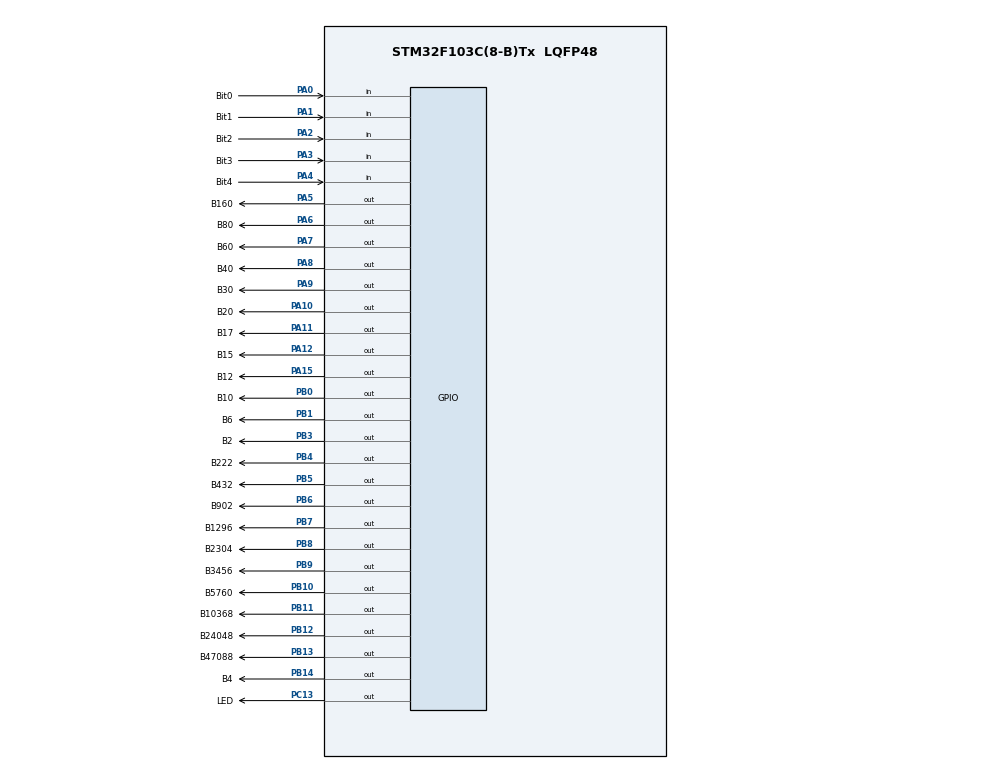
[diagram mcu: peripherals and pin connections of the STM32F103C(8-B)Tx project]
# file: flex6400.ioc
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Mcu.Family=STM32F1
Mcu.Name=STM32F103C(8-B)Tx
Mcu.Package=LQFP48
NVIC.PriorityGroup=NVIC_PRIORITYGROUP_4
NVIC.TIM4_IRQn=true\:0\:0\:false\:false\:true\:true\:true
PA0-WKUP.GPIO_Label=Bit0
PA0-WKUP.GPIO_PuPd=GPIO_PULLUP
PA0-WKUP.Signal=GPIO_Input
PA1.GPIO_Label=Bit1
PA1.GPIO_PuPd=GPIO_PULLUP
PA1.Signal=GPIO_Input
PA10.GPIO_Label=B20
PA10.Signal=GPIO_Output
PA11.GPIO_Label=B17
PA11.Signal=GPIO_Output
PA12.GPIO_Label=B15
PA12.Signal=GPIO_Output
PA13.Mode=Serial_Wire
PA13.Signal=SYS_JTMS-SWDIO
PA14.Mode=Serial_Wire
PA14.Signal=SYS_JTCK-SWCLK
PA15.GPIO_Label=B12
PA15.Signal=GPIO_Output
PA2.GPIO_Label=Bit2
PA2.GPIO_PuPd=GPIO_PULLUP
PA2.Signal=GPIO_Input
PA3.GPIO_Label=Bit3
PA3.GPIO_PuPd=GPIO_PULLUP
PA3.Signal=GPIO_Input
PA4.GPIO_Label=Bit4
PA4.GPIO_PuPd=GPIO_PULLUP
PA4.Signal=GPIO_Input
PA5.GPIO_Label=B160
PA5.Signal=GPIO_Output
PA6.GPIO_Label=B80
PA6.Signal=GPIO_Output
PA7.GPIO_Label=B60
PA7.Signal=GPIO_Output
PA8.GPIO_Label=B40
PA8.Signal=GPIO_Output
PA9.GPIO_Label=B30
PA9.Signal=GPIO_Output
PB0.GPIO_Label=B10
PB0.Signal=GPIO_Output
PB1.GPIO_Label=B6
PB1.Signal=GPIO_Output
PB10.GPIO_Label=B5760
PB10.Signal=GPIO_Output
PB11.GPIO_Label=B10368
PB11.Signal=GPIO_Output
PB12.GPIO_Label=B24048
PB12.Signal=GPIO_Output
PB13.GPIO_Label=B47088
PB13.Signal=GPIO_Output
PB14.GPIO_Label=B4
PB14.Signal=GPIO_Output
PB3.GPIO_Label=B2
PB3.Signal=GPIO_Output
PB4.GPIO_Label=B222
PB4.Signal=GPIO_Output
PB5.GPIO_Label=B432
PB5.Signal=GPIO_Output
PB6.GPIO_Label=B902
PB6.Signal=GPIO_Output
PB7.GPIO_Label=B1296
PB7.Signal=GPIO_Output
PB8.GPIO_Label=B2304
PB8.Signal=GPIO_Output
PB9.GPIO_Label=B3456
PB9.Signal=GPIO_Output
PC13-TAMPER-RTC.GPIO_Label=LED
PC13-TAMPER-RTC.Signal=GPIO_Output
PD0-OSC_IN.Mode=HSE-External-Oscillator
PD0-OSC_IN.Signal=RCC_OSC_IN
PD1-OSC_OUT.Mode=HSE-External-Oscillator
PD1-OSC_OUT.Signal=RCC_OSC_OUT
ProjectManager.HeapSize=0x200
ProjectManager.StackSize=0x400
ProjectManager.TargetToolchain=STM32CubeIDE
RCC.APB1Freq_Value=8000000
RCC.APB2Freq_Value=8000000
TIM4.AutoReloadPreload=TIM_AUTORELOAD_PRELOAD_ENABLE
TIM4.Period=1000
TIM4.Prescaler=7999
VP_TIM4_VS_ClockSourceINT.Mode=Internal
board=custom

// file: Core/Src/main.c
/* USER CODE BEGIN Header */
/**
  ******************************************************************************
  * @file           : main.c
  * @brief          : Main program body
  ******************************************************************************
  * @attention
  *
  * <h2><center>&copy; Copyright (c) 2020 STMicroelectronics.
  * All rights reserved.</center></h2>
  *
  * This software component is licensed by ST under BSD 3-Clause license,
  * the "License"; You may not use this file except in compliance with the
  * License. You may obtain a copy of the License at:
  *                        opensource.org/licenses/BSD-3-Clause
  *
  ******************************************************************************
  */
  /*
   INPUTS
	A0 - Bit0
	A1 - Bit1
	A2 - Bit2
	A3 - Bit3
	A4 - Bit4
   OUTPUTS
	A5 - 160
	A6 - 80
	A7 - 60
	A8 - 40
	A9 - 30
	A10 - 20
	A11 - 17
	A12 - 15
	A15 - 12
	B0 - 10
	B1 - 6
	B3 - 2
	B4 - 222
	B5 - 432
	B6 - 902
	B7 - 1296
	B8 - 2304
	B9 - 3456
	B10 - 5760
	B11 - 10368
	B12 - 24048
	B13 - 47088
	B14 - 4
  */
/* USER CODE END Header */
#include "main.h"
#include "tim.h"
#include "gpio.h"

void SystemClock_Config(void);
/* USER CODE BEGIN PFP */
void SetBand (void)
{
	if ((LL_GPIO_IsInputPinSet(Bit0_GPIO_Port, Bit0_Pin))&&!(LL_GPIO_IsInputPinSet(Bit1_GPIO_Port, Bit1_Pin))
				&&!(LL_GPIO_IsInputPinSet(Bit2_GPIO_Port, Bit2_Pin))&&!(LL_GPIO_IsInputPinSet(Bit3_GPIO_Port, Bit3_Pin))
				&&!(LL_GPIO_IsInputPinSet(Bit4_GPIO_Port, Bit4_Pin)))														//160
			{
				LL_GPIO_SetOutputPin(B160_GPIO_Port, B160_Pin);
				LL_GPIO_ResetOutputPin(B80_GPIO_Port, B80_Pin);
				LL_GPIO_ResetOutputPin(B60_GPIO_Port, B60_Pin);
				LL_GPIO_ResetOutputPin(B40_GPIO_Port, B40_Pin);
				LL_GPIO_ResetOutputPin(B30_GPIO_Port, B30_Pin);
				LL_GPIO_ResetOutputPin(B20_GPIO_Port, B20_Pin);
				LL_GPIO_ResetOutputPin(B17_GPIO_Port, B17_Pin);
				LL_GPIO_ResetOutputPin(B15_GPIO_Port, B15_Pin);
				LL_GPIO_ResetOutputPin(B12_GPIO_Port, B12_Pin);
				LL_GPIO_ResetOutputPin(B10_GPIO_Port, B10_Pin);
				LL_GPIO_ResetOutputPin(B6_GPIO_Port, B6_Pin);
				LL_GPIO_ResetOutputPin(B2_GPIO_Port, B2_Pin);
				LL_GPIO_ResetOutputPin(B222_GPIO_Port, B222_Pin);
				LL_GPIO_ResetOutputPin(B432_GPIO_Port, B432_Pin);
				LL_GPIO_ResetOutputPin(B902_GPIO_Port, B902_Pin);
				LL_GPIO_ResetOutputPin(B1296_GPIO_Port, B1296_Pin);
				LL_GPIO_ResetOutputPin(B2304_GPIO_Port, B2304_Pin);
				LL_GPIO_ResetOutputPin(B3456_GPIO_Port, B3456_Pin);
				LL_GPIO_ResetOutputPin(B5760_GPIO_Port, B5760_Pin);
				LL_GPIO_ResetOutputPin(B10368_GPIO_Port, B10368_Pin);
				LL_GPIO_ResetOutputPin(B24048_GPIO_Port, B24048_Pin);
				LL_GPIO_ResetOutputPin(B47088_GPIO_Port, B47088_Pin);
				LL_GPIO_ResetOutputPin(B4_GPIO_Port, B4_Pin);
			}
	if (!(LL_GPIO_IsInputPinSet(Bit0_GPIO_Port, Bit0_Pin))&&(LL_GPIO_IsInputPinSet(Bit1_GPIO_Port, Bit1_Pin))
					&&!(LL_GPIO_IsInputPinSet(Bit2_GPIO_Port, Bit2_Pin))&&!(LL_GPIO_IsInputPinSet(Bit3_GPIO_Port, Bit3_Pin))
					&&!(LL_GPIO_IsInputPinSet(Bit4_GPIO_Port, Bit4_Pin)))														//80
			{
				LL_GPIO_ResetOutputPin(B160_GPIO_Port, B160_Pin);
						LL_GPIO_SetOutputPin(B80_GPIO_Port, B80_Pin);
						LL_GPIO_ResetOutputPin(B60_GPIO_Port, B60_Pin);
						LL_GPIO_ResetOutputPin(B40_GPIO_Port, B40_Pin);
						LL_GPIO_ResetOutputPin(B30_GPIO_Port, B30_Pin);
						LL_GPIO_ResetOutputPin(B20_GPIO_Port, B20_Pin);
						LL_GPIO_ResetOutputPin(B17_GPIO_Port, B17_Pin);
						LL_GPIO_ResetOutputPin(B15_GPIO_Port, B15_Pin);
						LL_GPIO_ResetOutputPin(B12_GPIO_Port, B12_Pin);
						LL_GPIO_ResetOutputPin(B10_GPIO_Port, B10_Pin);
						LL_GPIO_ResetOutputPin(B6_GPIO_Port, B6_Pin);
						LL_GPIO_ResetOutputPin(B2_GPIO_Port, B2_Pin);
						LL_GPIO_ResetOutputPin(B222_GPIO_Port, B222_Pin);
						LL_GPIO_ResetOutputPin(B432_GPIO_Port, B432_Pin);
						LL_GPIO_ResetOutputPin(B902_GPIO_Port, B902_Pin);
						LL_GPIO_ResetOutputPin(B1296_GPIO_Port, B1296_Pin);
						LL_GPIO_ResetOutputPin(B2304_GPIO_Port, B2304_Pin);
						LL_GPIO_ResetOutputPin(B3456_GPIO_Port, B3456_Pin);
						LL_GPIO_ResetOutputPin(B5760_GPIO_Port, B5760_Pin);
						LL_GPIO_ResetOutputPin(B10368_GPIO_Port, B10368_Pin);
						LL_GPIO_ResetOutputPin(B24048_GPIO_Port, B24048_Pin);
						LL_GPIO_ResetOutputPin(B47088_GPIO_Port, B47088_Pin);
						LL_GPIO_ResetOutputPin(B4_GPIO_Port, B4_Pin);
			}
	if (!(LL_GPIO_IsInputPinSet(Bit0_GPIO_Port, Bit0_Pin))&&!(LL_GPIO_IsInputPinSet(Bit1_GPIO_Port, Bit1_Pin))
					&&!(LL_GPIO_IsInputPinSet(Bit2_GPIO_Port, Bit2_Pin))&&!(LL_GPIO_IsInputPinSet(Bit3_GPIO_Port, Bit3_Pin))
					&&!(LL_GPIO_IsInputPinSet(Bit4_GPIO_Port, Bit4_Pin)))														//60
			{
		LL_GPIO_ResetOutputPin(B160_GPIO_Port, B160_Pin);
						LL_GPIO_ResetOutputPin(B80_GPIO_Port, B80_Pin);
						LL_GPIO_SetOutputPin(B60_GPIO_Port, B60_Pin);
						LL_GPIO_ResetOutputPin(B40_GPIO_Port, B40_Pin);
						LL_GPIO_ResetOutputPin(B30_GPIO_Port, B30_Pin);
						LL_GPIO_ResetOutputPin(B20_GPIO_Port, B20_Pin);
						LL_GPIO_ResetOutputPin(B17_GPIO_Port, B17_Pin);
						LL_GPIO_ResetOutputPin(B15_GPIO_Port, B15_Pin);
						LL_GPIO_ResetOutputPin(B12_GPIO_Port, B12_Pin);
						LL_GPIO_ResetOutputPin(B10_GPIO_Port, B10_Pin);
						LL_GPIO_ResetOutputPin(B6_GPIO_Port, B6_Pin);
						LL_GPIO_ResetOutputPin(B2_GPIO_Port, B2_Pin);
						LL_GPIO_ResetOutputPin(B222_GPIO_Port, B222_Pin);
						LL_GPIO_ResetOutputPin(B432_GPIO_Port, B432_Pin);
						LL_GPIO_ResetOutputPin(B902_GPIO_Port, B902_Pin);
						LL_GPIO_ResetOutputPin(B1296_GPIO_Port, B1296_Pin);
						LL_GPIO_ResetOutputPin(B2304_GPIO_Port, B2304_Pin);
						LL_GPIO_ResetOutputPin(B3456_GPIO_Port, B3456_Pin);
						LL_GPIO_ResetOutputPin(B5760_GPIO_Port, B5760_Pin);
						LL_GPIO_ResetOutputPin(B10368_GPIO_Port, B10368_Pin);
						LL_GPIO_ResetOutputPin(B24048_GPIO_Port, B24048_Pin);
						LL_GPIO_ResetOutputPin(B47088_GPIO_Port, B47088_Pin);
						LL_GPIO_ResetOutputPin(B4_GPIO_Port, B4_Pin);

			}
	if ((LL_GPIO_IsInputPinSet(Bit0_GPIO_Port, Bit0_Pin))&&(LL_GPIO_IsInputPinSet(Bit1_GPIO_Port, Bit1_Pin))
					&&!(LL_GPIO_IsInputPinSet(Bit2_GPIO_Port, Bit2_Pin))&&!(LL_GPIO_IsInputPinSet(Bit3_GPIO_Port, Bit3_Pin))
					&&!(LL_GPIO_IsInputPinSet(Bit4_GPIO_Port, Bit4_Pin)))														//40
			{
		LL_GPIO_ResetOutputPin(B160_GPIO_Port, B160_Pin);
						LL_GPIO_ResetOutputPin(B80_GPIO_Port, B80_Pin);
						LL_GPIO_ResetOutputPin(B60_GPIO_Port, B60_Pin);
						LL_GPIO_SetOutputPin(B40_GPIO_Port, B40_Pin);
						LL_GPIO_ResetOutputPin(B30_GPIO_Port, B30_Pin);
						LL_GPIO_ResetOutputPin(B20_GPIO_Port, B20_Pin);
						LL_GPIO_ResetOutputPin(B17_GPIO_Port, B17_Pin);
						LL_GPIO_ResetOutputPin(B15_GPIO_Port, B15_Pin);
						LL_GPIO_ResetOutputPin(B12_GPIO_Port, B12_Pin);
						LL_GPIO_ResetOutputPin(B10_GPIO_Port, B10_Pin);
						LL_GPIO_ResetOutputPin(B6_GPIO_Port, B6_Pin);
						LL_GPIO_ResetOutputPin(B2_GPIO_Port, B2_Pin);
						LL_GPIO_ResetOutputPin(B222_GPIO_Port, B222_Pin);
						LL_GPIO_ResetOutputPin(B432_GPIO_Port, B432_Pin);
						LL_GPIO_ResetOutputPin(B902_GPIO_Port, B902_Pin);
						LL_GPIO_ResetOutputPin(B1296_GPIO_Port, B1296_Pin);
						LL_GPIO_ResetOutputPin(B2304_GPIO_Port, B2304_Pin);
						LL_GPIO_ResetOutputPin(B3456_GPIO_Port, B3456_Pin);
						LL_GPIO_ResetOutputPin(B5760_GPIO_Port, B5760_Pin);
						LL_GPIO_ResetOutputPin(B10368_GPIO_Port, B10368_Pin);
						LL_GPIO_ResetOutputPin(B24048_GPIO_Port, B24048_Pin);
						LL_GPIO_ResetOutputPin(B47088_GPIO_Port, B47088_Pin);
						LL_GPIO_ResetOutputPin(B4_GPIO_Port, B4_Pin);

			}
	if ((!LL_GPIO_IsInputPinSet(Bit0_GPIO_Port, Bit0_Pin))&&!(LL_GPIO_IsInputPinSet(Bit1_GPIO_Port, Bit1_Pin))
					&&(LL_GPIO_IsInputPinSet(Bit2_GPIO_Port, Bit2_Pin))&&!(LL_GPIO_IsInputPinSet(Bit3_GPIO_Port, Bit3_Pin))
					&&!(LL_GPIO_IsInputPinSet(Bit4_GPIO_Port, Bit4_Pin)))														//30
			{
		LL_GPIO_ResetOutputPin(B160_GPIO_Port, B160_Pin);
						LL_GPIO_ResetOutputPin(B80_GPIO_Port, B80_Pin);
						LL_GPIO_ResetOutputPin(B60_GPIO_Port, B60_Pin);
						LL_GPIO_ResetOutputPin(B40_GPIO_Port, B40_Pin);
						LL_GPIO_SetOutputPin(B30_GPIO_Port, B30_Pin);
						LL_GPIO_ResetOutputPin(B20_GPIO_Port, B20_Pin);
						LL_GPIO_ResetOutputPin(B17_GPIO_Port, B17_Pin);
						LL_GPIO_ResetOutputPin(B15_GPIO_Port, B15_Pin);
						LL_GPIO_ResetOutputPin(B12_GPIO_Port, B12_Pin);
						LL_GPIO_ResetOutputPin(B10_GPIO_Port, B10_Pin);
						LL_GPIO_ResetOutputPin(B6_GPIO_Port, B6_Pin);
						LL_GPIO_ResetOutputPin(B2_GPIO_Port, B2_Pin);
						LL_GPIO_ResetOutputPin(B222_GPIO_Port, B222_Pin);
						LL_GPIO_ResetOutputPin(B432_GPIO_Port, B432_Pin);
						LL_GPIO_ResetOutputPin(B902_GPIO_Port, B902_Pin);
						LL_GPIO_ResetOutputPin(B1296_GPIO_Port, B1296_Pin);
						LL_GPIO_ResetOutputPin(B2304_GPIO_Port, B2304_Pin);
						LL_GPIO_ResetOutputPin(B3456_GPIO_Port, B3456_Pin);
						LL_GPIO_ResetOutputPin(B5760_GPIO_Port, B5760_Pin);
						LL_GPIO_ResetOutputPin(B10368_GPIO_Port, B10368_Pin);
						LL_GPIO_ResetOutputPin(B24048_GPIO_Port, B24048_Pin);
						LL_GPIO_ResetOutputPin(B47088_GPIO_Port, B47088_Pin);
						LL_GPIO_ResetOutputPin(B4_GPIO_Port, B4_Pin);

			}
	if ((LL_GPIO_IsInputPinSet(Bit0_GPIO_Port, Bit0_Pin))&&!(LL_GPIO_IsInputPinSet(Bit1_GPIO_Port, Bit1_Pin))
					&&(LL_GPIO_IsInputPinSet(Bit2_GPIO_Port, Bit2_Pin))&&!(LL_GPIO_IsInputPinSet(Bit3_GPIO_Port, Bit3_Pin))
					&&!(LL_GPIO_IsInputPinSet(Bit4_GPIO_Port, Bit4_Pin)))														//20
			{
		LL_GPIO_ResetOutputPin(B160_GPIO_Port, B160_Pin);
						LL_GPIO_ResetOutputPin(B80_GPIO_Port, B80_Pin);
						LL_GPIO_ResetOutputPin(B60_GPIO_Port, B60_Pin);
						LL_GPIO_ResetOutputPin(B40_GPIO_Port, B40_Pin);
						LL_GPIO_ResetOutputPin(B30_GPIO_Port, B30_Pin);
						LL_GPIO_SetOutputPin(B20_GPIO_Port, B20_Pin);
						LL_GPIO_ResetOutputPin(B17_GPIO_Port, B17_Pin);
						LL_GPIO_ResetOutputPin(B15_GPIO_Port, B15_Pin);
						LL_GPIO_ResetOutputPin(B12_GPIO_Port, B12_Pin);
						LL_GPIO_ResetOutputPin(B10_GPIO_Port, B10_Pin);
						LL_GPIO_ResetOutputPin(B6_GPIO_Port, B6_Pin);
						LL_GPIO_ResetOutputPin(B2_GPIO_Port, B2_Pin);
						LL_GPIO_ResetOutputPin(B222_GPIO_Port, B222_Pin);
						LL_GPIO_ResetOutputPin(B432_GPIO_Port, B432_Pin);
						LL_GPIO_ResetOutputPin(B902_GPIO_Port, B902_Pin);
						LL_GPIO_ResetOutputPin(B1296_GPIO_Port, B1296_Pin);
						LL_GPIO_ResetOutputPin(B2304_GPIO_Port, B2304_Pin);
						LL_GPIO_ResetOutputPin(B3456_GPIO_Port, B3456_Pin);
						LL_GPIO_ResetOutputPin(B5760_GPIO_Port, B5760_Pin);
						LL_GPIO_ResetOutputPin(B10368_GPIO_Port, B10368_Pin);
						LL_GPIO_ResetOutputPin(B24048_GPIO_Port, B24048_Pin);
						LL_GPIO_ResetOutputPin(B47088_GPIO_Port, B47088_Pin);
						LL_GPIO_ResetOutputPin(B4_GPIO_Port, B4_Pin);

			}
	if ((!LL_GPIO_IsInputPinSet(Bit0_GPIO_Port, Bit0_Pin))&&(LL_GPIO_IsInputPinSet(Bit1_GPIO_Port, Bit1_Pin))
					&&(LL_GPIO_IsInputPinSet(Bit2_GPIO_Port, Bit2_Pin))&&!(LL_GPIO_IsInputPinSet(Bit3_GPIO_Port, Bit3_Pin))
					&&!(LL_GPIO_IsInputPinSet(Bit4_GPIO_Port, Bit4_Pin)))														//17
			{
		LL_GPIO_ResetOutputPin(B160_GPIO_Port, B160_Pin);
						LL_GPIO_ResetOutputPin(B80_GPIO_Port, B80_Pin);
						LL_GPIO_ResetOutputPin(B60_GPIO_Port, B60_Pin);
						LL_GPIO_ResetOutputPin(B40_GPIO_Port, B40_Pin);
						LL_GPIO_ResetOutputPin(B30_GPIO_Port, B30_Pin);
						LL_GPIO_ResetOutputPin(B20_GPIO_Port, B20_Pin);
						LL_GPIO_SetOutputPin(B17_GPIO_Port, B17_Pin);
						LL_GPIO_ResetOutputPin(B15_GPIO_Port, B15_Pin);
						LL_GPIO_ResetOutputPin(B12_GPIO_Port, B12_Pin);
						LL_GPIO_ResetOutputPin(B10_GPIO_Port, B10_Pin);
						LL_GPIO_ResetOutputPin(B6_GPIO_Port, B6_Pin);
						LL_GPIO_ResetOutputPin(B2_GPIO_Port, B2_Pin);
						LL_GPIO_ResetOutputPin(B222_GPIO_Port, B222_Pin);
						LL_GPIO_ResetOutputPin(B432_GPIO_Port, B432_Pin);
						LL_GPIO_ResetOutputPin(B902_GPIO_Port, B902_Pin);
						LL_GPIO_ResetOutputPin(B1296_GPIO_Port, B1296_Pin);
						LL_GPIO_ResetOutputPin(B2304_GPIO_Port, B2304_Pin);
						LL_GPIO_ResetOutputPin(B3456_GPIO_Port, B3456_Pin);
						LL_GPIO_ResetOutputPin(B5760_GPIO_Port, B5760_Pin);
						LL_GPIO_ResetOutputPin(B10368_GPIO_Port, B10368_Pin);
						LL_GPIO_ResetOutputPin(B24048_GPIO_Port, B24048_Pin);
						LL_GPIO_ResetOutputPin(B47088_GPIO_Port, B47088_Pin);
						LL_GPIO_ResetOutputPin(B4_GPIO_Port, B4_Pin);

			}
	if ((LL_GPIO_IsInputPinSet(Bit0_GPIO_Port, Bit0_Pin))&&(LL_GPIO_IsInputPinSet(Bit1_GPIO_Port, Bit1_Pin))
					&&(LL_GPIO_IsInputPinSet(Bit2_GPIO_Port, Bit2_Pin))&&!(LL_GPIO_IsInputPinSet(Bit3_GPIO_Port, Bit3_Pin))
					&&!(LL_GPIO_IsInputPinSet(Bit4_GPIO_Port, Bit4_Pin)))														//15
			{
		LL_GPIO_ResetOutputPin(B160_GPIO_Port, B160_Pin);
						LL_GPIO_ResetOutputPin(B80_GPIO_Port, B80_Pin);
						LL_GPIO_ResetOutputPin(B60_GPIO_Port, B60_Pin);
						LL_GPIO_ResetOutputPin(B40_GPIO_Port, B40_Pin);
						LL_GPIO_ResetOutputPin(B30_GPIO_Port, B30_Pin);
						LL_GPIO_ResetOutputPin(B20_GPIO_Port, B20_Pin);
						LL_GPIO_ResetOutputPin(B17_GPIO_Port, B17_Pin);
						LL_GPIO_SetOutputPin(B15_GPIO_Port, B15_Pin);
						LL_GPIO_ResetOutputPin(B12_GPIO_Port, B12_Pin);
						LL_GPIO_ResetOutputPin(B10_GPIO_Port, B10_Pin);
						LL_GPIO_ResetOutputPin(B6_GPIO_Port, B6_Pin);
						LL_GPIO_ResetOutputPin(B2_GPIO_Port, B2_Pin);
						LL_GPIO_ResetOutputPin(B222_GPIO_Port, B222_Pin);
						LL_GPIO_ResetOutputPin(B432_GPIO_Port, B432_Pin);
						LL_GPIO_ResetOutputPin(B902_GPIO_Port, B902_Pin);
						LL_GPIO_ResetOutputPin(B1296_GPIO_Port, B1296_Pin);
						LL_GPIO_ResetOutputPin(B2304_GPIO_Port, B2304_Pin);
						LL_GPIO_ResetOutputPin(B3456_GPIO_Port, B3456_Pin);
						LL_GPIO_ResetOutputPin(B5760_GPIO_Port, B5760_Pin);
						LL_GPIO_ResetOutputPin(B10368_GPIO_Port, B10368_Pin);
						LL_GPIO_ResetOutputPin(B24048_GPIO_Port, B24048_Pin);
						LL_GPIO_ResetOutputPin(B47088_GPIO_Port, B47088_Pin);
						LL_GPIO_ResetOutputPin(B4_GPIO_Port, B4_Pin);

			}
	if ((!LL_GPIO_IsInputPinSet(Bit0_GPIO_Port, Bit0_Pin))&&!(LL_GPIO_IsInputPinSet(Bit1_GPIO_Port, Bit1_Pin))
					&&!(LL_GPIO_IsInputPinSet(Bit2_GPIO_Port, Bit2_Pin))&&(LL_GPIO_IsInputPinSet(Bit3_GPIO_Port, Bit3_Pin))
					&&!(LL_GPIO_IsInputPinSet(Bit4_GPIO_Port, Bit4_Pin)))														//12
			{
		LL_GPIO_ResetOutputPin(B160_GPIO_Port, B160_Pin);
						LL_GPIO_ResetOutputPin(B80_GPIO_Port, B80_Pin);
						LL_GPIO_ResetOutputPin(B60_GPIO_Port, B60_Pin);
						LL_GPIO_ResetOutputPin(B40_GPIO_Port, B40_Pin);
						LL_GPIO_ResetOutputPin(B30_GPIO_Port, B30_Pin);
						LL_GPIO_ResetOutputPin(B20_GPIO_Port, B20_Pin);
						LL_GPIO_ResetOutputPin(B17_GPIO_Port, B17_Pin);
						LL_GPIO_ResetOutputPin(B15_GPIO_Port, B15_Pin);
						LL_GPIO_SetOutputPin(B12_GPIO_Port, B12_Pin);
						LL_GPIO_ResetOutputPin(B10_GPIO_Port, B10_Pin);
						LL_GPIO_ResetOutputPin(B6_GPIO_Port, B6_Pin);
						LL_GPIO_ResetOutputPin(B2_GPIO_Port, B2_Pin);
						LL_GPIO_ResetOutputPin(B222_GPIO_Port, B222_Pin);
						LL_GPIO_ResetOutputPin(B432_GPIO_Port, B432_Pin);
						LL_GPIO_ResetOutputPin(B902_GPIO_Port, B902_Pin);
						LL_GPIO_ResetOutputPin(B1296_GPIO_Port, B1296_Pin);
						LL_GPIO_ResetOutputPin(B2304_GPIO_Port, B2304_Pin);
						LL_GPIO_ResetOutputPin(B3456_GPIO_Port, B3456_Pin);
						LL_GPIO_ResetOutputPin(B5760_GPIO_Port, B5760_Pin);
						LL_GPIO_ResetOutputPin(B10368_GPIO_Port, B10368_Pin);
						LL_GPIO_ResetOutputPin(B24048_GPIO_Port, B24048_Pin);
						LL_GPIO_ResetOutputPin(B47088_GPIO_Port, B47088_Pin);
						LL_GPIO_ResetOutputPin(B4_GPIO_Port, B4_Pin);

			}
	if ((LL_GPIO_IsInputPinSet(Bit0_GPIO_Port, Bit0_Pin))&&!(LL_GPIO_IsInputPinSet(Bit1_GPIO_Port, Bit1_Pin))
					&&!(LL_GPIO_IsInputPinSet(Bit2_GPIO_Port, Bit2_Pin))&&(LL_GPIO_IsInputPinSet(Bit3_GPIO_Port, Bit3_Pin))
					&&!(LL_GPIO_IsInputPinSet(Bit4_GPIO_Port, Bit4_Pin)))														//10
			{
		LL_GPIO_ResetOutputPin(B160_GPIO_Port, B160_Pin);
						LL_GPIO_ResetOutputPin(B80_GPIO_Port, B80_Pin);
						LL_GPIO_ResetOutputPin(B60_GPIO_Port, B60_Pin);
						LL_GPIO_ResetOutputPin(B40_GPIO_Port, B40_Pin);
						LL_GPIO_ResetOutputPin(B30_GPIO_Port, B30_Pin);
						LL_GPIO_ResetOutputPin(B20_GPIO_Port, B20_Pin);
						LL_GPIO_ResetOutputPin(B17_GPIO_Port, B17_Pin);
						LL_GPIO_ResetOutputPin(B15_GPIO_Port, B15_Pin);
						LL_GPIO_ResetOutputPin(B12_GPIO_Port, B12_Pin);
						LL_GPIO_SetOutputPin(B10_GPIO_Port, B10_Pin);
						LL_GPIO_ResetOutputPin(B6_GPIO_Port, B6_Pin);
						LL_GPIO_ResetOutputPin(B2_GPIO_Port, B2_Pin);
						LL_GPIO_ResetOutputPin(B222_GPIO_Port, B222_Pin);
						LL_GPIO_ResetOutputPin(B432_GPIO_Port, B432_Pin);
						LL_GPIO_ResetOutputPin(B902_GPIO_Port, B902_Pin);
						LL_GPIO_ResetOutputPin(B1296_GPIO_Port, B1296_Pin);
						LL_GPIO_ResetOutputPin(B2304_GPIO_Port, B2304_Pin);
						LL_GPIO_ResetOutputPin(B3456_GPIO_Port, B3456_Pin);
						LL_GPIO_ResetOutputPin(B5760_GPIO_Port, B5760_Pin);
						LL_GPIO_ResetOutputPin(B10368_GPIO_Port, B10368_Pin);
						LL_GPIO_ResetOutputPin(B24048_GPIO_Port, B24048_Pin);
						LL_GPIO_ResetOutputPin(B47088_GPIO_Port, B47088_Pin);
						LL_GPIO_ResetOutputPin(B4_GPIO_Port, B4_Pin);

			}
	if ((LL_GPIO_IsInputPinSet(Bit0_GPIO_Port, Bit0_Pin))&&!(LL_GPIO_IsInputPinSet(Bit1_GPIO_Port, Bit1_Pin))
					&&!(LL_GPIO_IsInputPinSet(Bit2_GPIO_Port, Bit2_Pin))&&!(LL_GPIO_IsInputPinSet(Bit3_GPIO_Port, Bit3_Pin))
					&&(LL_GPIO_IsInputPinSet(Bit4_GPIO_Port, Bit4_Pin)))														//6
			{
		LL_GPIO_ResetOutputPin(B160_GPIO_Port, B160_Pin);
						LL_GPIO_ResetOutputPin(B80_GPIO_Port, B80_Pin);
						LL_GPIO_ResetOutputPin(B60_GPIO_Port, B60_Pin);
						LL_GPIO_ResetOutputPin(B40_GPIO_Port, B40_Pin);
						LL_GPIO_ResetOutputPin(B30_GPIO_Port, B30_Pin);
						LL_GPIO_ResetOutputPin(B20_GPIO_Port, B20_Pin);
						LL_GPIO_ResetOutputPin(B17_GPIO_Port, B17_Pin);
						LL_GPIO_ResetOutputPin(B15_GPIO_Port, B15_Pin);
						LL_GPIO_ResetOutputPin(B12_GPIO_Port, B12_Pin);
						LL_GPIO_ResetOutputPin(B10_GPIO_Port, B10_Pin);
						LL_GPIO_SetOutputPin(B6_GPIO_Port, B6_Pin);
						LL_GPIO_ResetOutputPin(B2_GPIO_Port, B2_Pin);
						LL_GPIO_ResetOutputPin(B222_GPIO_Port, B222_Pin);
						LL_GPIO_ResetOutputPin(B432_GPIO_Port, B432_Pin);
						LL_GPIO_ResetOutputPin(B902_GPIO_Port, B902_Pin);
						LL_GPIO_ResetOutputPin(B1296_GPIO_Port, B1296_Pin);
						LL_GPIO_ResetOutputPin(B2304_GPIO_Port, B2304_Pin);
						LL_GPIO_ResetOutputPin(B3456_GPIO_Port, B3456_Pin);
						LL_GPIO_ResetOutputPin(B5760_GPIO_Port, B5760_Pin);
						LL_GPIO_ResetOutputPin(B10368_GPIO_Port, B10368_Pin);
						LL_GPIO_ResetOutputPin(B24048_GPIO_Port, B24048_Pin);
						LL_GPIO_ResetOutputPin(B47088_GPIO_Port, B47088_Pin);
						LL_GPIO_ResetOutputPin(B4_GPIO_Port, B4_Pin);

			}
	if ((!LL_GPIO_IsInputPinSet(Bit0_GPIO_Port, Bit0_Pin))&&(LL_GPIO_IsInputPinSet(Bit1_GPIO_Port, Bit1_Pin))
					&&!(LL_GPIO_IsInputPinSet(Bit2_GPIO_Port, Bit2_Pin))&&!(LL_GPIO_IsInputPinSet(Bit3_GPIO_Port, Bit3_Pin))
					&&(LL_GPIO_IsInputPinSet(Bit4_GPIO_Port, Bit4_Pin)))														//2
			{
		LL_GPIO_ResetOutputPin(B160_GPIO_Port, B160_Pin);
						LL_GPIO_ResetOutputPin(B80_GPIO_Port, B80_Pin);
						LL_GPIO_ResetOutputPin(B60_GPIO_Port, B60_Pin);
						LL_GPIO_ResetOutputPin(B40_GPIO_Port, B40_Pin);
						LL_GPIO_ResetOutputPin(B30_GPIO_Port, B30_Pin);
						LL_GPIO_ResetOutputPin(B20_GPIO_Port, B20_Pin);
						LL_GPIO_ResetOutputPin(B17_GPIO_Port, B17_Pin);
						LL_GPIO_ResetOutputPin(B15_GPIO_Port, B15_Pin);
						LL_GPIO_ResetOutputPin(B12_GPIO_Port, B12_Pin);
						LL_GPIO_ResetOutputPin(B10_GPIO_Port, B10_Pin);
						LL_GPIO_ResetOutputPin(B6_GPIO_Port, B6_Pin);
						LL_GPIO_SetOutputPin(B2_GPIO_Port, B2_Pin);
						LL_GPIO_ResetOutputPin(B222_GPIO_Port, B222_Pin);
						LL_GPIO_ResetOutputPin(B432_GPIO_Port, B432_Pin);
						LL_GPIO_ResetOutputPin(B902_GPIO_Port, B902_Pin);
						LL_GPIO_ResetOutputPin(B1296_GPIO_Port, B1296_Pin);
						LL_GPIO_ResetOutputPin(B2304_GPIO_Port, B2304_Pin);
						LL_GPIO_ResetOutputPin(B3456_GPIO_Port, B3456_Pin);
						LL_GPIO_ResetOutputPin(B5760_GPIO_Port, B5760_Pin);
						LL_GPIO_ResetOutputPin(B10368_GPIO_Port, B10368_Pin);
						LL_GPIO_ResetOutputPin(B24048_GPIO_Port, B24048_Pin);
						LL_GPIO_ResetOutputPin(B47088_GPIO_Port, B47088_Pin);
						LL_GPIO_ResetOutputPin(B4_GPIO_Port, B4_Pin);

			}
	if ((LL_GPIO_IsInputPinSet(Bit0_GPIO_Port, Bit0_Pin))&&(LL_GPIO_IsInputPinSet(Bit1_GPIO_Port, Bit1_Pin))
					&&!(LL_GPIO_IsInputPinSet(Bit2_GPIO_Port, Bit2_Pin))&&!(LL_GPIO_IsInputPinSet(Bit3_GPIO_Port, Bit3_Pin))
					&&(LL_GPIO_IsInputPinSet(Bit4_GPIO_Port, Bit4_Pin)))														//222
			{
		LL_GPIO_ResetOutputPin(B160_GPIO_Port, B160_Pin);
						LL_GPIO_ResetOutputPin(B80_GPIO_Port, B80_Pin);
						LL_GPIO_ResetOutputPin(B60_GPIO_Port, B60_Pin);
						LL_GPIO_ResetOutputPin(B40_GPIO_Port, B40_Pin);
						LL_GPIO_ResetOutputPin(B30_GPIO_Port, B30_Pin);
						LL_GPIO_ResetOutputPin(B20_GPIO_Port, B20_Pin);
						LL_GPIO_ResetOutputPin(B17_GPIO_Port, B17_Pin);
						LL_GPIO_ResetOutputPin(B15_GPIO_Port, B15_Pin);
						LL_GPIO_ResetOutputPin(B12_GPIO_Port, B12_Pin);
						LL_GPIO_ResetOutputPin(B10_GPIO_Port, B10_Pin);
						LL_GPIO_ResetOutputPin(B6_GPIO_Port, B6_Pin);
						LL_GPIO_ResetOutputPin(B2_GPIO_Port, B2_Pin);
						LL_GPIO_SetOutputPin(B222_GPIO_Port, B222_Pin);
						LL_GPIO_ResetOutputPin(B432_GPIO_Port, B432_Pin);
						LL_GPIO_ResetOutputPin(B902_GPIO_Port, B902_Pin);
						LL_GPIO_ResetOutputPin(B1296_GPIO_Port, B1296_Pin);
						LL_GPIO_ResetOutputPin(B2304_GPIO_Port, B2304_Pin);
						LL_GPIO_ResetOutputPin(B3456_GPIO_Port, B3456_Pin);
						LL_GPIO_ResetOutputPin(B5760_GPIO_Port, B5760_Pin);
						LL_GPIO_ResetOutputPin(B10368_GPIO_Port, B10368_Pin);
						LL_GPIO_ResetOutputPin(B24048_GPIO_Port, B24048_Pin);
						LL_GPIO_ResetOutputPin(B47088_GPIO_Port, B47088_Pin);
						LL_GPIO_ResetOutputPin(B4_GPIO_Port, B4_Pin);

			}
	if (!(LL_GPIO_IsInputPinSet(Bit0_GPIO_Port, Bit0_Pin))&&!(LL_GPIO_IsInputPinSet(Bit1_GPIO_Port, Bit1_Pin))
					&&(LL_GPIO_IsInputPinSet(Bit2_GPIO_Port, Bit2_Pin))&&!(LL_GPIO_IsInputPinSet(Bit3_GPIO_Port, Bit3_Pin))
					&&(LL_GPIO_IsInputPinSet(Bit4_GPIO_Port, Bit4_Pin)))														//432
			{
		LL_GPIO_ResetOutputPin(B160_GPIO_Port, B160_Pin);
						LL_GPIO_ResetOutputPin(B80_GPIO_Port, B80_Pin);
						LL_GPIO_ResetOutputPin(B60_GPIO_Port, B60_Pin);
						LL_GPIO_ResetOutputPin(B40_GPIO_Port, B40_Pin);
						LL_GPIO_ResetOutputPin(B30_GPIO_Port, B30_Pin);
						LL_GPIO_ResetOutputPin(B20_GPIO_Port, B20_Pin);
						LL_GPIO_ResetOutputPin(B17_GPIO_Port, B17_Pin);
						LL_GPIO_ResetOutputPin(B15_GPIO_Port, B15_Pin);
						LL_GPIO_ResetOutputPin(B12_GPIO_Port, B12_Pin);
						LL_GPIO_ResetOutputPin(B10_GPIO_Port, B10_Pin);
						LL_GPIO_ResetOutputPin(B6_GPIO_Port, B6_Pin);
						LL_GPIO_ResetOutputPin(B2_GPIO_Port, B2_Pin);
						LL_GPIO_ResetOutputPin(B222_GPIO_Port, B222_Pin);
						LL_GPIO_SetOutputPin(B432_GPIO_Port, B432_Pin);
						LL_GPIO_ResetOutputPin(B902_GPIO_Port, B902_Pin);
						LL_GPIO_ResetOutputPin(B1296_GPIO_Port, B1296_Pin);
						LL_GPIO_ResetOutputPin(B2304_GPIO_Port, B2304_Pin);
						LL_GPIO_ResetOutputPin(B3456_GPIO_Port, B3456_Pin);
						LL_GPIO_ResetOutputPin(B5760_GPIO_Port, B5760_Pin);
						LL_GPIO_ResetOutputPin(B10368_GPIO_Port, B10368_Pin);
						LL_GPIO_ResetOutputPin(B24048_GPIO_Port, B24048_Pin);
						LL_GPIO_ResetOutputPin(B47088_GPIO_Port, B47088_Pin);
						LL_GPIO_ResetOutputPin(B4_GPIO_Port, B4_Pin);

			}
	if ((LL_GPIO_IsInputPinSet(Bit0_GPIO_Port, Bit0_Pin))&&!(LL_GPIO_IsInputPinSet(Bit1_GPIO_Port, Bit1_Pin))
					&&(LL_GPIO_IsInputPinSet(Bit2_GPIO_Port, Bit2_Pin))&&!(LL_GPIO_IsInputPinSet(Bit3_GPIO_Port, Bit3_Pin))
					&&(LL_GPIO_IsInputPinSet(Bit4_GPIO_Port, Bit4_Pin)))														//902
			{
		LL_GPIO_ResetOutputPin(B160_GPIO_Port, B160_Pin);
						LL_GPIO_ResetOutputPin(B80_GPIO_Port, B80_Pin);
						LL_GPIO_ResetOutputPin(B60_GPIO_Port, B60_Pin);
						LL_GPIO_ResetOutputPin(B40_GPIO_Port, B40_Pin);
						LL_GPIO_ResetOutputPin(B30_GPIO_Port, B30_Pin);
						LL_GPIO_ResetOutputPin(B20_GPIO_Port, B20_Pin);
						LL_GPIO_ResetOutputPin(B17_GPIO_Port, B17_Pin);
						LL_GPIO_ResetOutputPin(B15_GPIO_Port, B15_Pin);
						LL_GPIO_ResetOutputPin(B12_GPIO_Port, B12_Pin);
						LL_GPIO_ResetOutputPin(B10_GPIO_Port, B10_Pin);
						LL_GPIO_ResetOutputPin(B6_GPIO_Port, B6_Pin);
						LL_GPIO_ResetOutputPin(B2_GPIO_Port, B2_Pin);
						LL_GPIO_ResetOutputPin(B222_GPIO_Port, B222_Pin);
						LL_GPIO_ResetOutputPin(B432_GPIO_Port, B432_Pin);
						LL_GPIO_SetOutputPin(B902_GPIO_Port, B902_Pin);
						LL_GPIO_ResetOutputPin(B1296_GPIO_Port, B1296_Pin);
						LL_GPIO_ResetOutputPin(B2304_GPIO_Port, B2304_Pin);
						LL_GPIO_ResetOutputPin(B3456_GPIO_Port, B3456_Pin);
						LL_GPIO_ResetOutputPin(B5760_GPIO_Port, B5760_Pin);
						LL_GPIO_ResetOutputPin(B10368_GPIO_Port, B10368_Pin);
						LL_GPIO_ResetOutputPin(B24048_GPIO_Port, B24048_Pin);
						LL_GPIO_ResetOutputPin(B47088_GPIO_Port, B47088_Pin);
						LL_GPIO_ResetOutputPin(B4_GPIO_Port, B4_Pin);

			}
	if (!(LL_GPIO_IsInputPinSet(Bit0_GPIO_Port, Bit0_Pin))&&(LL_GPIO_IsInputPinSet(Bit1_GPIO_Port, Bit1_Pin))
					&&(LL_GPIO_IsInputPinSet(Bit2_GPIO_Port, Bit2_Pin))&&!(LL_GPIO_IsInputPinSet(Bit3_GPIO_Port, Bit3_Pin))
					&&(LL_GPIO_IsInputPinSet(Bit4_GPIO_Port, Bit4_Pin)))														//1296
			{
		LL_GPIO_ResetOutputPin(B160_GPIO_Port, B160_Pin);
						LL_GPIO_ResetOutputPin(B80_GPIO_Port, B80_Pin);
						LL_GPIO_ResetOutputPin(B60_GPIO_Port, B60_Pin);
						LL_GPIO_ResetOutputPin(B40_GPIO_Port, B40_Pin);
						LL_GPIO_ResetOutputPin(B30_GPIO_Port, B30_Pin);
						LL_GPIO_ResetOutputPin(B20_GPIO_Port, B20_Pin);
						LL_GPIO_ResetOutputPin(B17_GPIO_Port, B17_Pin);
						LL_GPIO_ResetOutputPin(B15_GPIO_Port, B15_Pin);
						LL_GPIO_ResetOutputPin(B12_GPIO_Port, B12_Pin);
						LL_GPIO_ResetOutputPin(B10_GPIO_Port, B10_Pin);
						LL_GPIO_ResetOutputPin(B6_GPIO_Port, B6_Pin);
						LL_GPIO_ResetOutputPin(B2_GPIO_Port, B2_Pin);
						LL_GPIO_ResetOutputPin(B222_GPIO_Port, B222_Pin);
						LL_GPIO_ResetOutputPin(B432_GPIO_Port, B432_Pin);
						LL_GPIO_ResetOutputPin(B902_GPIO_Port, B902_Pin);
						LL_GPIO_SetOutputPin(B1296_GPIO_Port, B1296_Pin);
						LL_GPIO_ResetOutputPin(B2304_GPIO_Port, B2304_Pin);
						LL_GPIO_ResetOutputPin(B3456_GPIO_Port, B3456_Pin);
						LL_GPIO_ResetOutputPin(B5760_GPIO_Port, B5760_Pin);
						LL_GPIO_ResetOutputPin(B10368_GPIO_Port, B10368_Pin);
						LL_GPIO_ResetOutputPin(B24048_GPIO_Port, B24048_Pin);
						LL_GPIO_ResetOutputPin(B47088_GPIO_Port, B47088_Pin);
						LL_GPIO_ResetOutputPin(B4_GPIO_Port, B4_Pin);

			}
	if ((LL_GPIO_IsInputPinSet(Bit0_GPIO_Port, Bit0_Pin))&&(LL_GPIO_IsInputPinSet(Bit1_GPIO_Port, Bit1_Pin))
					&&(LL_GPIO_IsInputPinSet(Bit2_GPIO_Port, Bit2_Pin))&&!(LL_GPIO_IsInputPinSet(Bit3_GPIO_Port, Bit3_Pin))
					&&(LL_GPIO_IsInputPinSet(Bit4_GPIO_Port, Bit4_Pin)))														//2304
			{
		LL_GPIO_ResetOutputPin(B160_GPIO_Port, B160_Pin);
						LL_GPIO_ResetOutputPin(B80_GPIO_Port, B80_Pin);
						LL_GPIO_ResetOutputPin(B60_GPIO_Port, B60_Pin);
						LL_GPIO_ResetOutputPin(B40_GPIO_Port, B40_Pin);
						LL_GPIO_ResetOutputPin(B30_GPIO_Port, B30_Pin);
						LL_GPIO_ResetOutputPin(B20_GPIO_Port, B20_Pin);
						LL_GPIO_ResetOutputPin(B17_GPIO_Port, B17_Pin);
						LL_GPIO_ResetOutputPin(B15_GPIO_Port, B15_Pin);
						LL_GPIO_ResetOutputPin(B12_GPIO_Port, B12_Pin);
						LL_GPIO_ResetOutputPin(B10_GPIO_Port, B10_Pin);
						LL_GPIO_ResetOutputPin(B6_GPIO_Port, B6_Pin);
						LL_GPIO_ResetOutputPin(B2_GPIO_Port, B2_Pin);
						LL_GPIO_ResetOutputPin(B222_GPIO_Port, B222_Pin);
						LL_GPIO_ResetOutputPin(B432_GPIO_Port, B432_Pin);
						LL_GPIO_ResetOutputPin(B902_GPIO_Port, B902_Pin);
						LL_GPIO_ResetOutputPin(B1296_GPIO_Port, B1296_Pin);
						LL_GPIO_SetOutputPin(B2304_GPIO_Port, B2304_Pin);
						LL_GPIO_ResetOutputPin(B3456_GPIO_Port, B3456_Pin);
						LL_GPIO_ResetOutputPin(B5760_GPIO_Port, B5760_Pin);
						LL_GPIO_ResetOutputPin(B10368_GPIO_Port, B10368_Pin);
						LL_GPIO_ResetOutputPin(B24048_GPIO_Port, B24048_Pin);
						LL_GPIO_ResetOutputPin(B47088_GPIO_Port, B47088_Pin);
						LL_GPIO_ResetOutputPin(B4_GPIO_Port, B4_Pin);

			}
	if (!(LL_GPIO_IsInputPinSet(Bit0_GPIO_Port, Bit0_Pin))&&!(LL_GPIO_IsInputPinSet(Bit1_GPIO_Port, Bit1_Pin))
					&&!(LL_GPIO_IsInputPinSet(Bit2_GPIO_Port, Bit2_Pin))&&(LL_GPIO_IsInputPinSet(Bit3_GPIO_Port, Bit3_Pin))
					&&(LL_GPIO_IsInputPinSet(Bit4_GPIO_Port, Bit4_Pin)))														//3456
			{
		LL_GPIO_ResetOutputPin(B160_GPIO_Port, B160_Pin);
						LL_GPIO_ResetOutputPin(B80_GPIO_Port, B80_Pin);
						LL_GPIO_ResetOutputPin(B60_GPIO_Port, B60_Pin);
						LL_GPIO_ResetOutputPin(B40_GPIO_Port, B40_Pin);
						LL_GPIO_ResetOutputPin(B30_GPIO_Port, B30_Pin);
						LL_GPIO_ResetOutputPin(B20_GPIO_Port, B20_Pin);
						LL_GPIO_ResetOutputPin(B17_GPIO_Port, B17_Pin);
						LL_GPIO_ResetOutputPin(B15_GPIO_Port, B15_Pin);
						LL_GPIO_ResetOutputPin(B12_GPIO_Port, B12_Pin);
						LL_GPIO_ResetOutputPin(B10_GPIO_Port, B10_Pin);
						LL_GPIO_ResetOutputPin(B6_GPIO_Port, B6_Pin);
						LL_GPIO_ResetOutputPin(B2_GPIO_Port, B2_Pin);
						LL_GPIO_ResetOutputPin(B222_GPIO_Port, B222_Pin);
						LL_GPIO_ResetOutputPin(B432_GPIO_Port, B432_Pin);
						LL_GPIO_ResetOutputPin(B902_GPIO_Port, B902_Pin);
						LL_GPIO_ResetOutputPin(B1296_GPIO_Port, B1296_Pin);
						LL_GPIO_ResetOutputPin(B2304_GPIO_Port, B2304_Pin);
						LL_GPIO_SetOutputPin(B3456_GPIO_Port, B3456_Pin);
						LL_GPIO_ResetOutputPin(B5760_GPIO_Port, B5760_Pin);
						LL_GPIO_ResetOutputPin(B10368_GPIO_Port, B10368_Pin);
						LL_GPIO_ResetOutputPin(B24048_GPIO_Port, B24048_Pin);
						LL_GPIO_ResetOutputPin(B47088_GPIO_Port, B47088_Pin);
						LL_GPIO_ResetOutputPin(B4_GPIO_Port, B4_Pin);

			}
	if ((LL_GPIO_IsInputPinSet(Bit0_GPIO_Port, Bit0_Pin))&&!(LL_GPIO_IsInputPinSet(Bit1_GPIO_Port, Bit1_Pin))
					&&!(LL_GPIO_IsInputPinSet(Bit2_GPIO_Port, Bit2_Pin))&&(LL_GPIO_IsInputPinSet(Bit3_GPIO_Port, Bit3_Pin))
					&&(LL_GPIO_IsInputPinSet(Bit4_GPIO_Port, Bit4_Pin)))														//5760
			{
		LL_GPIO_ResetOutputPin(B160_GPIO_Port, B160_Pin);
						LL_GPIO_ResetOutputPin(B80_GPIO_Port, B80_Pin);
						LL_GPIO_ResetOutputPin(B60_GPIO_Port, B60_Pin);
						LL_GPIO_ResetOutputPin(B40_GPIO_Port, B40_Pin);
						LL_GPIO_ResetOutputPin(B30_GPIO_Port, B30_Pin);
						LL_GPIO_ResetOutputPin(B20_GPIO_Port, B20_Pin);
						LL_GPIO_ResetOutputPin(B17_GPIO_Port, B17_Pin);
						LL_GPIO_ResetOutputPin(B15_GPIO_Port, B15_Pin);
						LL_GPIO_ResetOutputPin(B12_GPIO_Port, B12_Pin);
						LL_GPIO_ResetOutputPin(B10_GPIO_Port, B10_Pin);
						LL_GPIO_ResetOutputPin(B6_GPIO_Port, B6_Pin);
						LL_GPIO_ResetOutputPin(B2_GPIO_Port, B2_Pin);
						LL_GPIO_ResetOutputPin(B222_GPIO_Port, B222_Pin);
						LL_GPIO_ResetOutputPin(B432_GPIO_Port, B432_Pin);
						LL_GPIO_ResetOutputPin(B902_GPIO_Port, B902_Pin);
						LL_GPIO_ResetOutputPin(B1296_GPIO_Port, B1296_Pin);
						LL_GPIO_ResetOutputPin(B2304_GPIO_Port, B2304_Pin);
						LL_GPIO_ResetOutputPin(B3456_GPIO_Port, B3456_Pin);
						LL_GPIO_SetOutputPin(B5760_GPIO_Port, B5760_Pin);
						LL_GPIO_ResetOutputPin(B10368_GPIO_Port, B10368_Pin);
						LL_GPIO_ResetOutputPin(B24048_GPIO_Port, B24048_Pin);
						LL_GPIO_ResetOutputPin(B47088_GPIO_Port, B47088_Pin);
						LL_GPIO_ResetOutputPin(B4_GPIO_Port, B4_Pin);

			}
	if (!(LL_GPIO_IsInputPinSet(Bit0_GPIO_Port, Bit0_Pin))&&(LL_GPIO_IsInputPinSet(Bit1_GPIO_Port, Bit1_Pin))
					&&!(LL_GPIO_IsInputPinSet(Bit2_GPIO_Port, Bit2_Pin))&&(LL_GPIO_IsInputPinSet(Bit3_GPIO_Port, Bit3_Pin))
					&&(LL_GPIO_IsInputPinSet(Bit4_GPIO_Port, Bit4_Pin)))														//10368
			{
		LL_GPIO_ResetOutputPin(B160_GPIO_Port, B160_Pin);
						LL_GPIO_ResetOutputPin(B80_GPIO_Port, B80_Pin);
						LL_GPIO_ResetOutputPin(B60_GPIO_Port, B60_Pin);
						LL_GPIO_ResetOutputPin(B40_GPIO_Port, B40_Pin);
						LL_GPIO_ResetOutputPin(B30_GPIO_Port, B30_Pin);
						LL_GPIO_ResetOutputPin(B20_GPIO_Port, B20_Pin);
						LL_GPIO_ResetOutputPin(B17_GPIO_Port, B17_Pin);
						LL_GPIO_ResetOutputPin(B15_GPIO_Port, B15_Pin);
						LL_GPIO_ResetOutputPin(B12_GPIO_Port, B12_Pin);
						LL_GPIO_ResetOutputPin(B10_GPIO_Port, B10_Pin);
						LL_GPIO_ResetOutputPin(B6_GPIO_Port, B6_Pin);
						LL_GPIO_ResetOutputPin(B2_GPIO_Port, B2_Pin);
						LL_GPIO_ResetOutputPin(B222_GPIO_Port, B222_Pin);
						LL_GPIO_ResetOutputPin(B432_GPIO_Port, B432_Pin);
						LL_GPIO_ResetOutputPin(B902_GPIO_Port, B902_Pin);
						LL_GPIO_ResetOutputPin(B1296_GPIO_Port, B1296_Pin);
						LL_GPIO_ResetOutputPin(B2304_GPIO_Port, B2304_Pin);
						LL_GPIO_ResetOutputPin(B3456_GPIO_Port, B3456_Pin);
						LL_GPIO_ResetOutputPin(B5760_GPIO_Port, B5760_Pin);
						LL_GPIO_SetOutputPin(B10368_GPIO_Port, B10368_Pin);
						LL_GPIO_ResetOutputPin(B24048_GPIO_Port, B24048_Pin);
						LL_GPIO_ResetOutputPin(B47088_GPIO_Port, B47088_Pin);
						LL_GPIO_ResetOutputPin(B4_GPIO_Port, B4_Pin);

			}
	if ((LL_GPIO_IsInputPinSet(Bit0_GPIO_Port, Bit0_Pin))&&(LL_GPIO_IsInputPinSet(Bit1_GPIO_Port, Bit1_Pin))
					&&!(LL_GPIO_IsInputPinSet(Bit2_GPIO_Port, Bit2_Pin))&&(LL_GPIO_IsInputPinSet(Bit3_GPIO_Port, Bit3_Pin))
					&&(LL_GPIO_IsInputPinSet(Bit4_GPIO_Port, Bit4_Pin)))														//24048
			{
		LL_GPIO_ResetOutputPin(B160_GPIO_Port, B160_Pin);
						LL_GPIO_ResetOutputPin(B80_GPIO_Port, B80_Pin);
						LL_GPIO_ResetOutputPin(B60_GPIO_Port, B60_Pin);
						LL_GPIO_ResetOutputPin(B40_GPIO_Port, B40_Pin);
						LL_GPIO_ResetOutputPin(B30_GPIO_Port, B30_Pin);
						LL_GPIO_ResetOutputPin(B20_GPIO_Port, B20_Pin);
						LL_GPIO_ResetOutputPin(B17_GPIO_Port, B17_Pin);
						LL_GPIO_ResetOutputPin(B15_GPIO_Port, B15_Pin);
						LL_GPIO_ResetOutputPin(B12_GPIO_Port, B12_Pin);
						LL_GPIO_ResetOutputPin(B10_GPIO_Port, B10_Pin);
						LL_GPIO_ResetOutputPin(B6_GPIO_Port, B6_Pin);
						LL_GPIO_ResetOutputPin(B2_GPIO_Port, B2_Pin);
						LL_GPIO_ResetOutputPin(B222_GPIO_Port, B222_Pin);
						LL_GPIO_ResetOutputPin(B432_GPIO_Port, B432_Pin);
						LL_GPIO_ResetOutputPin(B902_GPIO_Port, B902_Pin);
						LL_GPIO_ResetOutputPin(B1296_GPIO_Port, B1296_Pin);
						LL_GPIO_ResetOutputPin(B2304_GPIO_Port, B2304_Pin);
						LL_GPIO_ResetOutputPin(B3456_GPIO_Port, B3456_Pin);
						LL_GPIO_ResetOutputPin(B5760_GPIO_Port, B5760_Pin);
						LL_GPIO_ResetOutputPin(B10368_GPIO_Port, B10368_Pin);
						LL_GPIO_SetOutputPin(B24048_GPIO_Port, B24048_Pin);
						LL_GPIO_ResetOutputPin(B47088_GPIO_Port, B47088_Pin);
						LL_GPIO_ResetOutputPin(B4_GPIO_Port, B4_Pin);

			}
	if (!(LL_GPIO_IsInputPinSet(Bit0_GPIO_Port, Bit0_Pin))&&!(LL_GPIO_IsInputPinSet(Bit1_GPIO_Port, Bit1_Pin))
					&&(LL_GPIO_IsInputPinSet(Bit2_GPIO_Port, Bit2_Pin))&&(LL_GPIO_IsInputPinSet(Bit3_GPIO_Port, Bit3_Pin))
					&&(LL_GPIO_IsInputPinSet(Bit4_GPIO_Port, Bit4_Pin)))														//47088
			{
		LL_GPIO_ResetOutputPin(B160_GPIO_Port, B160_Pin);
						LL_GPIO_ResetOutputPin(B80_GPIO_Port, B80_Pin);
						LL_GPIO_ResetOutputPin(B60_GPIO_Port, B60_Pin);
						LL_GPIO_ResetOutputPin(B40_GPIO_Port, B40_Pin);
						LL_GPIO_ResetOutputPin(B30_GPIO_Port, B30_Pin);
						LL_GPIO_ResetOutputPin(B20_GPIO_Port, B20_Pin);
						LL_GPIO_ResetOutputPin(B17_GPIO_Port, B17_Pin);
						LL_GPIO_ResetOutputPin(B15_GPIO_Port, B15_Pin);
						LL_GPIO_ResetOutputPin(B12_GPIO_Port, B12_Pin);
						LL_GPIO_ResetOutputPin(B10_GPIO_Port, B10_Pin);
						LL_GPIO_ResetOutputPin(B6_GPIO_Port, B6_Pin);
						LL_GPIO_ResetOutputPin(B2_GPIO_Port, B2_Pin);
						LL_GPIO_ResetOutputPin(B222_GPIO_Port, B222_Pin);
						LL_GPIO_ResetOutputPin(B432_GPIO_Port, B432_Pin);
						LL_GPIO_ResetOutputPin(B902_GPIO_Port, B902_Pin);
						LL_GPIO_ResetOutputPin(B1296_GPIO_Port, B1296_Pin);
						LL_GPIO_ResetOutputPin(B2304_GPIO_Port, B2304_Pin);
						LL_GPIO_ResetOutputPin(B3456_GPIO_Port, B3456_Pin);
						LL_GPIO_ResetOutputPin(B5760_GPIO_Port, B5760_Pin);
						LL_GPIO_ResetOutputPin(B10368_GPIO_Port, B10368_Pin);
						LL_GPIO_ResetOutputPin(B24048_GPIO_Port, B24048_Pin);
						LL_GPIO_SetOutputPin(B47088_GPIO_Port, B47088_Pin);
						LL_GPIO_ResetOutputPin(B4_GPIO_Port, B4_Pin);

			}
	if ((LL_GPIO_IsInputPinSet(Bit0_GPIO_Port, Bit0_Pin))&&!(LL_GPIO_IsInputPinSet(Bit1_GPIO_Port, Bit1_Pin))
					&&(LL_GPIO_IsInputPinSet(Bit2_GPIO_Port, Bit2_Pin))&&(LL_GPIO_IsInputPinSet(Bit3_GPIO_Port, Bit3_Pin))
					&&(LL_GPIO_IsInputPinSet(Bit4_GPIO_Port, Bit4_Pin)))														//4
			{
		LL_GPIO_ResetOutputPin(B160_GPIO_Port, B160_Pin);
						LL_GPIO_ResetOutputPin(B80_GPIO_Port, B80_Pin);
						LL_GPIO_ResetOutputPin(B60_GPIO_Port, B60_Pin);
						LL_GPIO_ResetOutputPin(B40_GPIO_Port, B40_Pin);
						LL_GPIO_ResetOutputPin(B30_GPIO_Port, B30_Pin);
						LL_GPIO_ResetOutputPin(B20_GPIO_Port, B20_Pin);
						LL_GPIO_ResetOutputPin(B17_GPIO_Port, B17_Pin);
						LL_GPIO_ResetOutputPin(B15_GPIO_Port, B15_Pin);
						LL_GPIO_ResetOutputPin(B12_GPIO_Port, B12_Pin);
						LL_GPIO_ResetOutputPin(B10_GPIO_Port, B10_Pin);
						LL_GPIO_ResetOutputPin(B6_GPIO_Port, B6_Pin);
						LL_GPIO_ResetOutputPin(B2_GPIO_Port, B2_Pin);
						LL_GPIO_ResetOutputPin(B222_GPIO_Port, B222_Pin);
						LL_GPIO_ResetOutputPin(B432_GPIO_Port, B432_Pin);
						LL_GPIO_ResetOutputPin(B902_GPIO_Port, B902_Pin);
						LL_GPIO_ResetOutputPin(B1296_GPIO_Port, B1296_Pin);
						LL_GPIO_ResetOutputPin(B2304_GPIO_Port, B2304_Pin);
						LL_GPIO_ResetOutputPin(B3456_GPIO_Port, B3456_Pin);
						LL_GPIO_ResetOutputPin(B5760_GPIO_Port, B5760_Pin);
						LL_GPIO_ResetOutputPin(B10368_GPIO_Port, B10368_Pin);
						LL_GPIO_ResetOutputPin(B24048_GPIO_Port, B24048_Pin);
						LL_GPIO_ResetOutputPin(B47088_GPIO_Port, B47088_Pin);
						LL_GPIO_SetOutputPin(B4_GPIO_Port, B4_Pin);

			}
	if ((LL_GPIO_IsInputPinSet(Bit0_GPIO_Port, Bit0_Pin))&&(LL_GPIO_IsInputPinSet(Bit1_GPIO_Port, Bit1_Pin))
						&&(LL_GPIO_IsInputPinSet(Bit2_GPIO_Port, Bit2_Pin))&&(LL_GPIO_IsInputPinSet(Bit3_GPIO_Port, Bit3_Pin))
						&&(LL_GPIO_IsInputPinSet(Bit4_GPIO_Port, Bit4_Pin)))
			{
				LL_GPIO_ResetOutputPin(B160_GPIO_Port, B160_Pin);
				LL_GPIO_ResetOutputPin(B80_GPIO_Port, B80_Pin);
				LL_GPIO_ResetOutputPin(B60_GPIO_Port, B60_Pin);
				LL_GPIO_ResetOutputPin(B40_GPIO_Port, B40_Pin);
				LL_GPIO_ResetOutputPin(B30_GPIO_Port, B30_Pin);
				LL_GPIO_ResetOutputPin(B20_GPIO_Port, B20_Pin);
				LL_GPIO_ResetOutputPin(B17_GPIO_Port, B17_Pin);
				LL_GPIO_ResetOutputPin(B15_GPIO_Port, B15_Pin);
				LL_GPIO_ResetOutputPin(B12_GPIO_Port, B12_Pin);
				LL_GPIO_ResetOutputPin(B10_GPIO_Port, B10_Pin);
				LL_GPIO_ResetOutputPin(B6_GPIO_Port, B6_Pin);
				LL_GPIO_ResetOutputPin(B2_GPIO_Port, B2_Pin);
				LL_GPIO_ResetOutputPin(B222_GPIO_Port, B222_Pin);
				LL_GPIO_ResetOutputPin(B432_GPIO_Port, B432_Pin);
				LL_GPIO_ResetOutputPin(B902_GPIO_Port, B902_Pin);
				LL_GPIO_ResetOutputPin(B1296_GPIO_Port, B1296_Pin);
				LL_GPIO_ResetOutputPin(B2304_GPIO_Port, B2304_Pin);
				LL_GPIO_ResetOutputPin(B3456_GPIO_Port, B3456_Pin);
				LL_GPIO_ResetOutputPin(B5760_GPIO_Port, B5760_Pin);
				LL_GPIO_ResetOutputPin(B10368_GPIO_Port, B10368_Pin);
				LL_GPIO_ResetOutputPin(B24048_GPIO_Port, B24048_Pin);
				LL_GPIO_ResetOutputPin(B47088_GPIO_Port, B47088_Pin);
				LL_GPIO_ResetOutputPin(B4_GPIO_Port, B4_Pin);

			}

}
/* USER CODE END PFP */

int main(void)
{

  /* MCU Configuration--------------------------------------------------------*/

  /* Reset of all peripherals, Initializes the Flash interface and the Systick. */

  LL_APB2_GRP1_EnableClock(LL_APB2_GRP1_PERIPH_AFIO);
  LL_APB1_GRP1_EnableClock(LL_APB1_GRP1_PERIPH_PWR);

  NVIC_SetPriorityGrouping(NVIC_PRIORITYGROUP_4);

  /* System interrupt init*/

  /** NOJTAG: JTAG-DP Disabled and SW-DP Enabled
  */
  LL_GPIO_AF_Remap_SWJ_NOJTAG();

  /* Configure the system clock */
  SystemClock_Config();

  /* Initialize all configured peripherals */
  MX_GPIO_Init();
  MX_TIM4_Init();
  /* USER CODE BEGIN 2 */
  LL_TIM_EnableCounter(TIM4);
  LL_TIM_EnableIT_UPDATE(TIM4);

  /* USER CODE END 2 */

  /* Infinite loop */
  /* USER CODE BEGIN WHILE */
  while (1)
  {
	  SetBand();
	  LL_mDelay(100);
    /* USER CODE END WHILE */

  }
}

void SystemClock_Config(void)
{
  LL_FLASH_SetLatency(LL_FLASH_LATENCY_0);
  while(LL_FLASH_GetLatency()!= LL_FLASH_LATENCY_0)
  {
  }
  LL_RCC_HSI_SetCalibTrimming(16);
  LL_RCC_HSI_Enable();

   /* Wait till HSI is ready */
  while(LL_RCC_HSI_IsReady() != 1)
  {

  }
  LL_RCC_SetAHBPrescaler(LL_RCC_SYSCLK_DIV_1);
  LL_RCC_SetAPB1Prescaler(LL_RCC_APB1_DIV_1);
  LL_RCC_SetAPB2Prescaler(LL_RCC_APB2_DIV_1);
  LL_RCC_SetSysClkSource(LL_RCC_SYS_CLKSOURCE_HSI);

   /* Wait till System clock is ready */
  while(LL_RCC_GetSysClkSource() != LL_RCC_SYS_CLKSOURCE_STATUS_HSI)
  {

  }
  LL_Init1msTick(8000000);
  LL_SetSystemCoreClock(8000000);
}

void Error_Handler(void)
{
}

/************************ (C) COPYRIGHT STMicroelectronics *****END OF FILE****/
